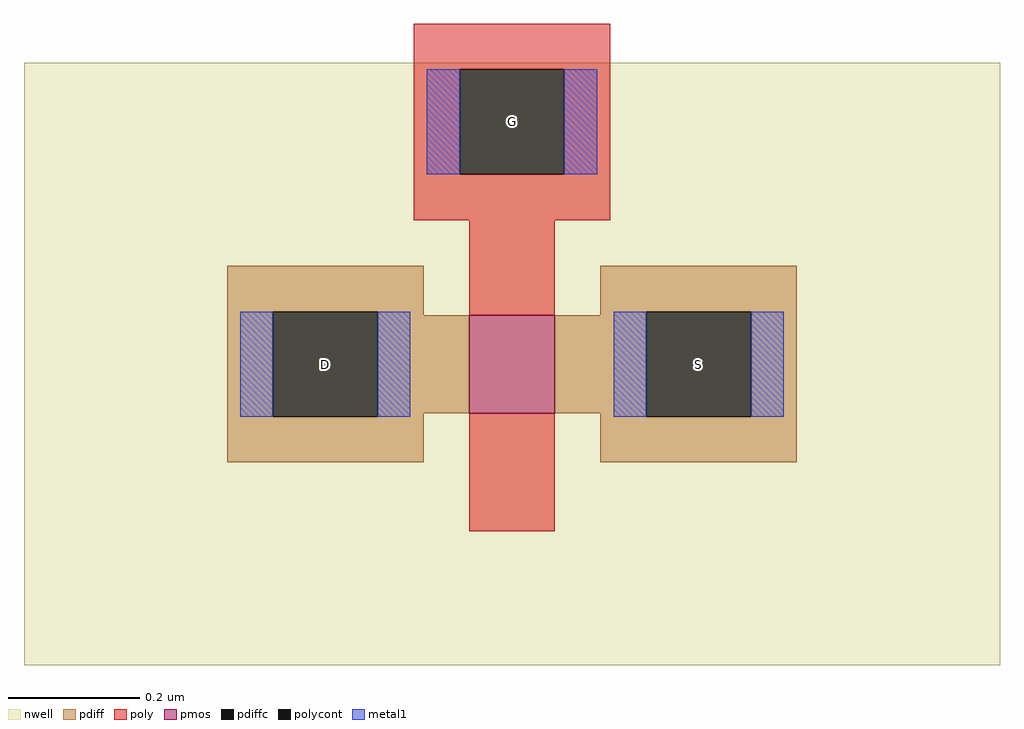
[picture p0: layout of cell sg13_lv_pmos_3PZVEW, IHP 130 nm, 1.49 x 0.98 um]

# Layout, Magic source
magic
tech ihp-sg13g2
magscale 1 2
<< nwell >>
rect -149 -119 149 65
<< pmos >>
rect -13 -42 13 -12
<< pdiff >>
rect -87 -11 -27 3
rect -87 -43 -73 -11
rect -41 -12 -27 -11
rect 27 -11 87 3
rect 27 -12 41 -11
rect -41 -42 -13 -12
rect 13 -42 41 -12
rect -41 -43 -27 -42
rect -87 -57 -27 -43
rect 27 -43 41 -42
rect 73 -43 87 -11
rect 27 -57 87 -43
<< pdiffc >>
rect -73 -43 -41 -11
rect 41 -43 73 -11
<< poly >>
rect -30 63 30 77
rect -30 31 -16 63
rect 16 31 30 63
rect -30 17 30 31
rect -13 -12 13 17
rect -13 -78 13 -42
<< polycont >>
rect -16 31 16 63
<< metal1 >>
rect -26 31 -16 63
rect 16 31 26 63
rect -83 -43 -73 -11
rect -41 -43 -31 -11
rect 31 -43 41 -11
rect 73 -43 83 -11
<< labels >>
rlabel pdiffc -57 -27 -57 -27 0 D
port 1 nsew
rlabel pdiffc 57 -27 57 -27 0 S
port 2 nsew
rlabel polycont 0 47 0 47 0 G
port 3 nsew
<< properties >>
string gencell sg13_lv_pmos
string library sg13g2
string parameters w 0.15 l 0.13 m 1 nf 1 diffcov 100 polycov 100 guard 0 glc 1 grc 1 gtc 1 gbc 1 tbcov 100 rlcov 100 topc 1 botc 0 poverlap 0 doverlap 1 lmin 0.13 wmin 0.15 class mosfet compatible {sg13_lv_pmos sg13_hv_pmos} full_metal 1 conn_gates 0 gate_ring 0 ccols 1 viasrc 0 viadrn 0 viagate 0 viagb 0 viagr 0 viagl 0 viagt 0 doports 1
<< end >>
